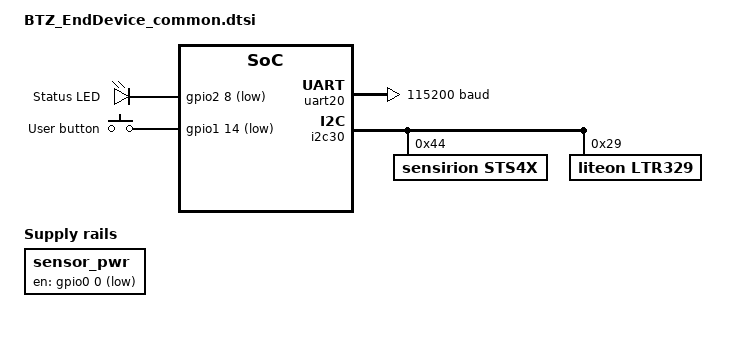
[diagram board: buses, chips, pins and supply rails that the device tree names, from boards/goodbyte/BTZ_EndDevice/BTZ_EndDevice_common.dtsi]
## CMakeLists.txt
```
# SPDX-License-Identifier: Apache-2.0

cmake_minimum_required(VERSION 3.20.0)
find_package(Zephyr REQUIRED HINTS $ENV{ZEPHYR_BASE})
project(nrf54l15_power_test)

target_sources(app PRIVATE src/main.c)
```

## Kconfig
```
# nRF54L15 – pomiar poboru energii (PPK2)
#
# Wybór głębokości snu odbywa się na etapie budowania (build-time): każdy tryb
# to osobny obraz/hex, dzięki czemu w obrazie pomiarowym nie ma nic zbędnego.
# Tryb wybierasz przez -DCONFIG_SLEEP_<...>=y przy west build.

mainmenu "nRF54L15 power measurement"

choice
	prompt "Głębokość snu do pomiaru (Sleep depth)"
	default SLEEP_SYSTEM_OFF_RESET_ONLY
	help
	  Jeden tryb na obraz. Przełączasz tryb przez rekompilację
	  z innym -DCONFIG_SLEEP_...=y.

config SLEEP_SYSTEM_ON_IDLE
	bool "System ON idle (RTOS śpi; RAM + RTC utrzymane)"
	help
	  main() wywołuje k_sleep(K_FOREVER); wątek idle wchodzi w WFI.
	  RAM i LFCLK/RTC (GRTC) pozostają aktywne. Referencyjny prąd
	  "śpiącego" systemu RTOS.

config SLEEP_SYSTEM_ON_ACTIVE
	bool "System ON active; CPU w pustej pętli, bez usypiania (max zegar)"
	help
	  main() wchodzi w nieskończoną, pustą pętlę busy-loop (bez k_sleep/WFI,
	  CPU nigdy nie usypia). Rdzeń aplikacyjny nRF54L15 pracuje na stałym
	  zegarze PLL 128 MHz - to już domyślny build (SoC nie ma DVFS/HSFLL jak
	  nRF54H20, PLL wspiera tylko 64/128 MHz). Punkt odniesienia "worst case":
	  maksymalny pobór samego CPU, do porównania z wariantami snu.

config SLEEP_SYSTEM_OFF_WAKE_GPIO
	bool "System OFF; wybudzenie przyciskiem sw0 (bez retencji RAM)"
	select GPIO
	select POWEROFF
	help
	  sys_poweroff() z przyciskiem sw0 skonfigurowanym jako źródło
	  wybudzenia (SENSE). RAM nieutrzymywany. Wymaga aliasu 'sw0'
	  w devicetree.

config SLEEP_SYSTEM_OFF_RESET_ONLY
	bool "System OFF; wybudzenie tylko reset (absolutne minimum)"
	select POWEROFF
	help
	  Samo sys_poweroff(). Brak jakiegokolwiek źródła wybudzenia
	  poza resetem/pinem reset. Absolutne minimum katalogowe.

config SLEEP_SYSTEM_OFF_RAM_RETAINED
	bool "System OFF; z retencją RAM (koszt retencji)"
	select POWEROFF
	select RETAINED_MEM
	select RETAINED_MEM_ZEPHYR_RAM
	help
	  sys_poweroff() z utrzymaniem regionu RAM zdefiniowanego w
	  devicetree (compatible = "zephyr,retained-ram"). Pokazuje ile
	  prądu kosztuje utrzymanie pamięci względem czystego minimum.
	  Ilość utrzymywanego RAM = rozmiar regionu w overlay płytki.

config SLEEP_PERIODIC_SYSTEM_ON
	bool "Periodyk: System ON idle + k_sleep(T) (zostajemy 'ciepli')"
	help
	  Pętla: krótki błysk aktywności (symulacja pracy/TX) co okres T,
	  a między nimi k_sleep(T) -> System ON idle (RAM + RTC żyją,
	  program KONTYNUUJE). Wzorzec dla częstych wysyłek. Zmierz PPK2
	  średni prąd przez pełny cykl i porównaj z wariantem OFF.

config SLEEP_PERIODIC_SYSTEM_OFF
	bool "Periodyk: System OFF + wybudzenie GRTC po T (reboot co cykl)"
	select POWEROFF
	help
	  Błysk aktywności -> uzbrojenie GRTC na T -> sys_poweroff().
	  Wybudzenie po T = restart od main() (RAM znika, pełny reboot).
	  Niższy prąd snu, ale narzut rebootu na każdy cykl. Wzorzec dla
	  rzadkich wysyłek. Zmierz PPK2 średni prąd i znajdź punkt
	  przecięcia względem wariantu SYSTEM_ON.

endchoice

# --- Parametry wariantów periodycznych ---

config PERIODIC_PERIOD_MS
	int "Okres T między wybudzeniami [ms]"
	default 10000
	range 10 86400000
	depends on SLEEP_PERIODIC_SYSTEM_ON || SLEEP_PERIODIC_SYSTEM_OFF
	help
	  Odstęp między kolejnymi wybudzeniami (błyskami aktywności).
	  Zmieniaj, żeby zdjąć krzywą prądu średniego w funkcji okresu
	  i znaleźć punkt przecięcia SYSTEM_ON vs SYSTEM_OFF.

config PERIODIC_ACTIVE_MS
	int "Czas aktywnego błysku – symulacja pracy/TX [ms]"
	default 5
	range 0 10000
	depends on SLEEP_PERIODIC_SYSTEM_ON || SLEEP_PERIODIC_SYSTEM_OFF
	help
	  Jak długo CPU jest zajęty (k_busy_wait) na jedno wybudzenie –
	  zamiennik realnej pracy/nadawania. 0 = brak błysku (sam sen).
	  W realnym produkcie zastąp to swoim kodem (odczyt + TX).

source "Kconfig.zephyr"
```

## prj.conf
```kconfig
# ============================================================
#  nRF54L15 – obraz pomiarowy "rób dosłownie nic"
# ============================================================
# Baza wyłącza wszystko, co pobiera prąd w spoczynku. Wybór trybu
# snu jest w Kconfig (choice) i ustawiany przez -DCONFIG_SLEEP_...=y.

# --- Konsola / serial / logi / RTT / shell: WYŁĄCZONE ---
CONFIG_SERIAL=n
CONFIG_CONSOLE=n
CONFIG_UART_CONSOLE=n
CONFIG_BOOT_BANNER=n
CONFIG_LOG=n
CONFIG_USE_SEGGER_RTT=n
CONFIG_SHELL=n
# PRINTK celowo NIE ustawiamy na 'n' — jądro i tak wymusza je na 'y' (byłby
# tylko warning). Nie szkodzi: bez backendu konsoli printk nie ma dokąd pisać,
# a APP_LOG w kodzie bramkujemy na CONFIG_CONSOLE, nie na PRINTK.

# GPIO celowo NIE ustawiamy tutaj: domyślnie jest wyłączone, a wariant
# SLEEP_SYSTEM_OFF_WAKE_GPIO włącza je przez `select GPIO` (patrz Kconfig).
```

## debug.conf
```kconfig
# ============================================================
#  Fragment SANITY-CHECK (nie do pomiaru minimum!)
# ============================================================
# Włącza UART/konsolę i HWINFO, żeby po resecie wypisać wybrany tryb
# i przyczynę resetu. Dołączaj przez:
#   west build ... -- -DEXTRA_CONF_FILE=debug.conf -DCONFIG_SLEEP_...=y
#
# UWAGA: aktywny UART podnosi pobór o dziesiątki–setki µA — użyj tego
# TYLKO do potwierdzenia, że firmware działa i wchodzi w tryb, a pomiar
# minimum rób na obrazie bez tego fragmentu.

CONFIG_SERIAL=y
CONFIG_CONSOLE=y
CONFIG_UART_CONSOLE=y
CONFIG_PRINTK=y
CONFIG_BOOT_BANNER=y
CONFIG_HWINFO=y
```

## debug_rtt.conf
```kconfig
# ============================================================
#  Fragment SANITY-CHECK przez RTT (J-Link RTT Viewer)
# ============================================================
# Kieruje logi na SEGGER RTT zamiast UART — do użycia z J-Link + RTT Viewer.
# Dołączaj przez:
#   west build ... -- -DEXTRA_CONF_FILE=debug_rtt.conf -DCONFIG_SLEEP_...=y
#
# UWAGA: to build DIAGNOSTYCZNY, NIE do pomiaru minimum. RTT wymaga aktywnego
# interfejsu debug (J-Link podłączony), co samo w sobie podnosi pobór. Pomiar
# prądu rób na obrazie BEZ tego fragmentu i z ODŁĄCZONYM J-Linkiem.

CONFIG_CONSOLE=y
CONFIG_USE_SEGGER_RTT=y
CONFIG_RTT_CONSOLE=y
CONFIG_UART_CONSOLE=n
CONFIG_SERIAL=n
CONFIG_PRINTK=y
CONFIG_BOOT_BANNER=y
CONFIG_HWINFO=y
```

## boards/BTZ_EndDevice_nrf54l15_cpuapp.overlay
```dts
/*
 * Overlay dla własnej płytki BTZ_EndDevice (nrf54l15/cpuapp).
 *
 * Region RAM utrzymywany w System OFF (compatible = "zephyr,retained-ram").
 * Warstwa SoC przywraca jego retencję w sys_poweroff() tylko w obrazie z
 * wariantem SLEEP_SYSTEM_OFF_RAM_RETAINED (który włącza CONFIG_RETAINED_MEM).
 * W innych obrazach region jest bezczynny – nie wpływa na pomiar.
 *
 * BTZ_EndDevice używa pełnego cpuapp_sram = 256 KB @ 0x20000000. Wycinamy 4 KB
 * u góry (0x2003f000) i zmniejszamy główny SRAM do 252 KB. Aby zbliżyć się do
 * katalogowej "pełnej retencji", zwiększ region retained i zmniejsz cpuapp_sram.
 */

/ {
	cpuapp_sram@2003f000 {
		compatible = "zephyr,memory-region", "mmio-sram";
		reg = <0x2003f000 DT_SIZE_K(4)>;
		zephyr,memory-region = "RetainedMem";
		status = "okay";

		retainedmem0: retainedmem {
			compatible = "zephyr,retained-ram";
			status = "okay";
		};
	};

	aliases {
		retainedmemdevice = &retainedmem0;
	};
};

&cpuapp_sram {
	/* Zmniejsz główny SRAM, aby nie nachodził na region retained (252 KB). */
	reg = <0x20000000 DT_SIZE_K(252)>;
	ranges = <0x0 0x20000000 0x3f000>;
};

/*
 * TEST poboru: przełącz piny NFC (P1.02/P1.03) z trybu NFC na GPIO.
 * Na nRF54L15 piny NFC są domyślnie w trybie NFC od resetu; ten wpis zapisuje
 * UICR (NRF_CONFIG_NFCT_PINS_AS_GPIOS), co usuwa bias/ochronę pól NFC. Cel:
 * sprawdzić, czy tryb NFC dokłada prąd w System OFF (niepotwierdzone w
 * datasheet nRF54L15). UWAGA:
 *   - działa dopiero po `west flash --erase` (zapis UICR),
 *   - jest TRWAŁE do czasu erase UICR,
 *   - wyłącza funkcję NFC i ochronę pinów NFC.
 * Jeśli NFC ma być używane w produkcie – usuń ten blok.
 */
&uicr {
	nfct-pins-as-gpios;
};
```

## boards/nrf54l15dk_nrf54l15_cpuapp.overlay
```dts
/*
 * Overlay płytki referencyjnej nRF54L15 DK.
 *
 * Definiuje region RAM utrzymywany w System OFF (compatible =
 * "zephyr,retained-ram"). Warstwa SoC przywraca jego retencję podczas
 * sys_poweroff() TYLKO w obrazie z wariantem SLEEP_SYSTEM_OFF_RAM_RETAINED
 * (który włącza CONFIG_RETAINED_MEM). W pozostałych obrazach ten region jest
 * bezczynny (sterownik retencji nie jest budowany) – nie wpływa na pomiar.
 *
 * Adresy są specyficzne dla nRF54L15 (te same co w próbce Zephyr system_off).
 * Aby zbliżyć się do katalogowej wartości "pełnej retencji RAM", ZWIĘKSZ
 * rozmiar regionu retained (DT_SIZE_K) i odpowiednio zmniejsz cpuapp_sram.
 * Na WŁASNEJ płytce dostosuj adresy do jej mapy RAM.
 */

/ {
	cpuapp_sram@2002e000 {
		compatible = "zephyr,memory-region", "mmio-sram";
		reg = <0x2002e000 DT_SIZE_K(4)>;
		zephyr,memory-region = "RetainedMem";
		status = "okay";

		retainedmem0: retainedmem {
			compatible = "zephyr,retained-ram";
			status = "okay";
		};
	};

	aliases {
		retainedmemdevice = &retainedmem0;
	};
};

&cpuapp_sram {
	/* Zmniejsz główny SRAM, aby nie nachodził na region retained (184 KB). */
	reg = <0x20000000 DT_SIZE_K(184)>;
	ranges = <0x0 0x20000000 0x2e000>;
};
```

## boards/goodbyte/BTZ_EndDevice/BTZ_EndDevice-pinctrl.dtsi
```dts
/*
 * Copyright (c) 2026 Goodbyte
 * SPDX-License-Identifier: Apache-2.0
 */

&pinctrl {
	uart20_default: uart20_default {
		group1 {
			psels = <NRF_PSEL(UART_TX, 1, 4)>,
				<NRF_PSEL(UART_RTS, 1, 6)>;
		};

		group2 {
			psels = <NRF_PSEL(UART_RX, 1, 5)>,
				<NRF_PSEL(UART_CTS, 1, 7)>;
			bias-pull-up;
		};
	};

	uart20_sleep: uart20_sleep {
		group1 {
			psels = <NRF_PSEL(UART_RX, 1, 5)>,
				<NRF_PSEL(UART_RTS, 1, 6)>,
				<NRF_PSEL(UART_CTS, 1, 7)>;
			low-power-enable;
		};

		group2 {
			psels = <NRF_PSEL(UART_TX, 1, 4)>;
			low-power-enable;
			bias-pull-up;
		};
	};

	i2c30_default: i2c30_default {
		group1 {
			psels = <NRF_PSEL(TWIM_SDA, 0, 3)>,
				<NRF_PSEL(TWIM_SCL, 0, 4)>;
		};
	};

	i2c30_sleep: i2c30_sleep {
		group1 {
			psels = <NRF_PSEL(TWIM_SDA, 0, 3)>,
				<NRF_PSEL(TWIM_SCL, 0, 4)>;
			low-power-enable;
		};
	};
};
```

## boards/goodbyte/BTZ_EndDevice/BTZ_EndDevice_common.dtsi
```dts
/*
 * Copyright (c) 2026 Goodbyte
 * SPDX-License-Identifier: Apache-2.0
 */

#include "BTZ_EndDevice-pinctrl.dtsi"

/ {
	leds {
		compatible = "gpio-leds";

		led0: led_0 {
			gpios = <&gpio2 8 GPIO_ACTIVE_LOW>;
			label = "Status LED";
		};
	};

	buttons {
		compatible = "gpio-keys";

		button0: button_0 {
			gpios = <&gpio1 14 (GPIO_ACTIVE_LOW | GPIO_PULL_UP)>;
			label = "User button";
			zephyr,code = <INPUT_KEY_0>;
		};
	};

	/* Bramka zasilania czujników: P0.00 aktywny stanem niskim (enable = low) */
	sensor_pwr: sensor_pwr {
		compatible = "regulator-fixed";
		regulator-name = "sensor_pwr";
		enable-gpios = <&gpio0 0 GPIO_ACTIVE_LOW>;
		regulator-boot-on;
	};

	aliases {
		led0 = &led0;
		sw0 = &button0;
		watchdog0 = &wdt31;
	};
};

&uart20 {
	current-speed = <115200>;
	pinctrl-0 = <&uart20_default>;
	pinctrl-1 = <&uart20_sleep>;
	pinctrl-names = "default", "sleep";
};

/*
 * ---------------------------------------------------------------------------
 * Wymagania po stronie aplikacji (prj.conf), aby czujniki I2C działały:
 *
 *   CONFIG_I2C=y               magistrala I2C (sterownik TWIM)
 *   CONFIG_REGULATOR=y         podsystem regulatorów (framework)
 *   CONFIG_REGULATOR_FIXED=y   sterownik bramki zasilania sensor_pwr (P0.00)
 *   CONFIG_SENSOR=y            API czujnikow (sensor_sample_fetch/_channel_get)
 *
 */
&i2c30 {
	status = "okay";
	pinctrl-0 = <&i2c30_default>;
	pinctrl-1 = <&i2c30_sleep>;
	pinctrl-names = "default", "sleep";

	sts4x: sts4x@44 {
		compatible = "sensirion,sts4x";
		reg = <0x44>;
		repeatability = <2>;
	};

	/* BMI270 nieużywany — wyłączony, żeby driver nie był wciągany do builda
	 * (sterownik ma "default y if DT_HAS_BOSCH_BMI270_ENABLED", więc sam
	 * wpis w devicetree wystarczyłby do jego włączenia).
	 *
	 * bmi270: bmi270@68 {
	 *	compatible = "bosch,bmi270";
	 *	reg = <0x68>;
	 * };
	 */

	ltr329: ltr329@29 {
		compatible = "liteon,ltr329";
		reg = <0x29>;
	};
};
```

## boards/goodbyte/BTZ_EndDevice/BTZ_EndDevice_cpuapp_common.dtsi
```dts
/*
 * Copyright (c) 2026 Goodbyte
 *
 * SPDX-License-Identifier: Apache-2.0
 */

#include "BTZ_EndDevice_common.dtsi"

/ {
	chosen {
		zephyr,console = &uart20;
		zephyr,shell-uart = &uart20;
		zephyr,uart-mcumgr = &uart20;
		zephyr,bt-mon-uart = &uart20;
		zephyr,bt-c2h-uart = &uart20;
		zephyr,flash-controller = &rram_controller;
		zephyr,flash = &cpuapp_rram;
		zephyr,ieee802154 = &ieee802154;
		zephyr,boot-mode = &boot_mode0;
	};

	aliases {
		mcuboot-button0 = &button0;
		mcuboot-led0 = &led0;
	};
};

&cpuapp_sram {
	status = "okay";
};

&lfxo {
	load-capacitors = "internal";
	load-capacitance-femtofarad = <17000>;
};

&hfxo {
	load-capacitors = "internal";
	load-capacitance-femtofarad = <15000>;
};

&regulators {
	status = "okay";
};

&vregmain {
	status = "okay";
	regulator-initial-mode = <NRF5X_REG_MODE_DCDC>;
};

&grtc {
	owned-channels = <0 1 2 3 4 5 6 7 8 9 10 11>;
	/* Channels 7-11 reserved for Zero Latency IRQs, 3-4 for FLPR */
	child-owned-channels = <3 4 7 8 9 10 11>;
	status = "okay";
};

&uart20 {
	status = "okay";
};

&nfct {
	status = "okay";
};

&gpio0 {
	status = "okay";
};

&gpio1 {
	status = "okay";
};

&gpio2 {
	status = "okay";
};

&gpiote20 {
	status = "okay";
};

&gpiote30 {
	status = "okay";
};

&radio {
	status = "okay";
};

&ieee802154 {
	status = "okay";
};

&temp {
	status = "okay";
};

&clock {
	status = "okay";
};

&gpregret1 {
	status = "okay";

	boot_mode0: boot_mode@0 {
		compatible = "zephyr,retention";
		status = "okay";
		reg = <0x0 0x1>;
	};
};

&adc {
	status = "okay";
};
```

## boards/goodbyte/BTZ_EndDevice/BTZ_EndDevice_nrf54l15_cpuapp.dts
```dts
/*
 * Copyright (c) 2026 Goodbyte
 *
 * SPDX-License-Identifier: Apache-2.0
 */

/dts-v1/;

#include <nordic/nrf54l15_cpuapp.dtsi>
#include "BTZ_EndDevice_cpuapp_common.dtsi"

/ {
	compatible = "goodbyte,btz-enddevice-cpuapp";
	model = "BTZ End Device nRF54L15";

	chosen {
		zephyr,code-partition = &slot0_partition;
		zephyr,sram = &cpuapp_sram;
	};
};

/* Include default memory partition configuration file */
#include <vendor/nordic/nrf54l15_cpuapp_partition.dtsi>
```

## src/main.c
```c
/*
 * nRF54L15 – pomiar poboru energii (PPK2).
 *
 * Firmware wprowadza układ w JEDEN, wybrany na etapie budowania tryb uśpienia
 * i nie robi nic więcej (poza opcjonalnym "błyskiem" aktywności w trybach
 * periodycznych). Wybór trybu: Kconfig choice (patrz Kconfig / README).
 *
 * SPDX-License-Identifier: Apache-2.0
 */

#include <zephyr/kernel.h>
#include <zephyr/sys/poweroff.h>

#if defined(CONFIG_SLEEP_SYSTEM_OFF_WAKE_GPIO) || DT_NODE_EXISTS(DT_NODELABEL(sensor_pwr))
#include <zephyr/drivers/gpio.h>
#endif

#if defined(CONFIG_SLEEP_PERIODIC_SYSTEM_OFF)
#include <zephyr/drivers/timer/nrf_grtc_timer.h>
#endif

#if defined(CONFIG_HWINFO)
#include <zephyr/drivers/hwinfo.h>
#endif

/* Lekki log tylko gdy jest aktywna konsola (build diagnostyczny z CONFIG_CONSOLE=y).
 * W obrazie pomiarowym CONFIG_CONSOLE jest wyłączone, więc APP_LOG znika
 * do pustej instrukcji i firmware naprawdę nic nie wypisuje.
 * (Uwaga: CONFIG_PRINTK bywa wymuszone na 'y' przez jądro, dlatego
 *  bramkujemy na CONSOLE, a nie na PRINTK.) */
#if defined(CONFIG_CONSOLE)
#define APP_LOG(...) printk(__VA_ARGS__)
#else
#define APP_LOG(...) do { } while (0)
#endif

#if defined(CONFIG_SLEEP_SYSTEM_OFF_WAKE_GPIO)
#if !DT_NODE_EXISTS(DT_ALIAS(sw0))
#error "Wariant SLEEP_SYSTEM_OFF_WAKE_GPIO wymaga aliasu 'sw0' (przycisk wybudzenia) w devicetree."
#endif
static const struct gpio_dt_spec wakeup_button = GPIO_DT_SPEC_GET(DT_ALIAS(sw0), gpios);
#endif

#if DT_NODE_EXISTS(DT_NODELABEL(sensor_pwr))
/* Bramka zasilania czujników I2C na BTZ_EndDevice (P0.00, active-low enable,
 * "regulator-boot-on" w devicetree). Sterownik regulator-fixed nie jest w tym
 * firmware budowany (brak CONFIG_REGULATOR/CONFIG_I2C/CONFIG_SENSOR), więc
 * nic normalnie tego pinu nie dotyka - a jego stan jest zatrzaskiwany przez
 * System OFF/reset, więc może zostać z poprzedniego firmware. Wymuszamy tu
 * jawnie stan wyłączony (potwierdzone na płytce: P0.00 wysoki = czujniki bez
 * zasilania), żeby pomiar prądu snu nie liczył też poboru czujników.
 */
static const struct gpio_dt_spec sensor_pwr_en =
	GPIO_DT_SPEC_GET(DT_NODELABEL(sensor_pwr), enable_gpios);
#endif

#if defined(CONFIG_SLEEP_PERIODIC_SYSTEM_ON) || defined(CONFIG_SLEEP_PERIODIC_SYSTEM_OFF)
/* Zamiennik realnej pracy/nadawania: CPU zajęty przez PERIODIC_ACTIVE_MS.
 * W realnym produkcie zastąp to swoim kodem (odczyt czujnika + TX). */
static inline void activity_burst(void)
{
	k_busy_wait((uint32_t)CONFIG_PERIODIC_ACTIVE_MS * 1000U);
}
#endif

int main(void)
{
#if defined(CONFIG_HWINFO)
	uint32_t reset_cause = 0U;

	(void)hwinfo_get_reset_cause(&reset_cause);
	APP_LOG("\n[nRF54L15 power-test] board=%s reset_cause=0x%08x\n",
		CONFIG_BOARD, reset_cause);
	(void)hwinfo_clear_reset_cause();
#endif

#if DT_NODE_EXISTS(DT_NODELABEL(sensor_pwr))
	if (gpio_is_ready_dt(&sensor_pwr_en)) {
		(void)gpio_pin_configure_dt(&sensor_pwr_en, GPIO_OUTPUT_INACTIVE);
	}
#endif

#if defined(CONFIG_SLEEP_SYSTEM_ON_IDLE)
	/* --- System ON idle ---
	 * Nic nie robimy. Wątek idle wchodzi w WFI, RAM i LFCLK/RTC (GRTC)
	 * pozostają aktywne. Referencyjny prąd "śpiącego" RTOS. */
	APP_LOG("Tryb: System ON idle (k_sleep FOREVER)\n");
	k_sleep(K_FOREVER);

#elif defined(CONFIG_SLEEP_SYSTEM_ON_ACTIVE)
	/* --- System ON active ---
	 * CPU nigdy nie usypia: pusta petla busy-loop, bez k_sleep/WFI.
	 * Zegar cpuapp nRF54L15 jest stalym PLL 128 MHz (max dla tego SoC,
	 * brak DVFS/HSFLL jak w nRF54H20) - to juz domyslny build, wiec
	 * BUILD_ASSERT tylko to potwierdza, nic nie "zada" w runtime. */
	BUILD_ASSERT(NRF_CONFIG_CPU_FREQ_MHZ == 128,
		     "Oczekiwano stalego zegara cpuapp 128 MHz (max dla nRF54L15)");
	APP_LOG("Tryb: System ON active, busy-loop @ %d MHz (bez usypiania)\n",
		NRF_CONFIG_CPU_FREQ_MHZ);
	while (1) {
#if defined(CONFIG_CONSOLE)
		static int64_t last_log;
		int64_t now = k_uptime_get();

		if (now - last_log >= 1000) {
			APP_LOG("busy-loop dziala, uptime=%lld ms\n", now);
			last_log = now;
		}
#endif
	}

#elif defined(CONFIG_SLEEP_PERIODIC_SYSTEM_ON)
	/* --- Periodyk, System ON ---
	 * Błysk aktywności co T, między nimi k_sleep(T) -> System ON idle.
	 * Program KONTYNUUJE (RAM + RTC żyją), brak kosztu rebootu. */
	APP_LOG("Tryb: Periodyk System ON, T=%d ms, aktywne=%d ms\n",
		CONFIG_PERIODIC_PERIOD_MS, CONFIG_PERIODIC_ACTIVE_MS);
	while (1) {
#if defined(CONFIG_CONSOLE)
		static uint32_t wake;

		APP_LOG("wybudzenie #%u\n", wake++);
#endif
		activity_burst();
		k_sleep(K_MSEC(CONFIG_PERIODIC_PERIOD_MS));
	}

#elif defined(CONFIG_SLEEP_PERIODIC_SYSTEM_OFF)
	/* --- Periodyk, System OFF ---
	 * Błysk aktywności -> uzbrojenie GRTC na T -> sys_poweroff().
	 * Wybudzenie po T = restart od main() (pełny reboot, RAM znika). */
	APP_LOG("Tryb: Periodyk System OFF, T=%d ms, aktywne=%d ms\n",
		CONFIG_PERIODIC_PERIOD_MS, CONFIG_PERIODIC_ACTIVE_MS);
	activity_burst();

	int err = z_nrf_grtc_wakeup_prepare((uint64_t)CONFIG_PERIODIC_PERIOD_MS * 1000ULL);

	if (err < 0) {
		APP_LOG("Nie udalo sie uzbroic GRTC jako wybudzenia (%d)\n", err);
	}
	sys_poweroff();
	/* nieosiągalne */

#else /* --- jednorazowe warianty System OFF --- */

#if defined(CONFIG_SLEEP_SYSTEM_OFF_WAKE_GPIO)
	/* Skonfiguruj przycisk jako źródło wybudzenia z System OFF.
	 * GPIO_INT_LEVEL_ACTIVE ustawia SENSE, który wybudza z OFF. */
	int rc = gpio_pin_configure_dt(&wakeup_button, GPIO_INPUT);

	if (rc == 0) {
		rc = gpio_pin_interrupt_configure_dt(&wakeup_button,
						     GPIO_INT_LEVEL_ACTIVE);
	}
	if (rc != 0) {
		APP_LOG("Blad konfiguracji sw0 jako wybudzenia (%d)\n", rc);
	}
	APP_LOG("Tryb: System OFF, wybudzenie przyciskiem sw0\n");

#elif defined(CONFIG_SLEEP_SYSTEM_OFF_RAM_RETAINED)
	/* Retencja RAM jest przywracana przez warstwę SoC podczas
	 * sys_poweroff() dla regionu "zephyr,retained-ram" z devicetree
	 * (overlay płytki). Tu nic dodatkowego nie trzeba robić. */
	APP_LOG("Tryb: System OFF z retencja RAM (region z devicetree)\n");

#else /* CONFIG_SLEEP_SYSTEM_OFF_RESET_ONLY */
	APP_LOG("Tryb: System OFF, wybudzenie tylko reset (minimum)\n");
#endif

	sys_poweroff();
	/* nieosiągalne */

#endif /* wybór trybu */

	return 0;
}
```
